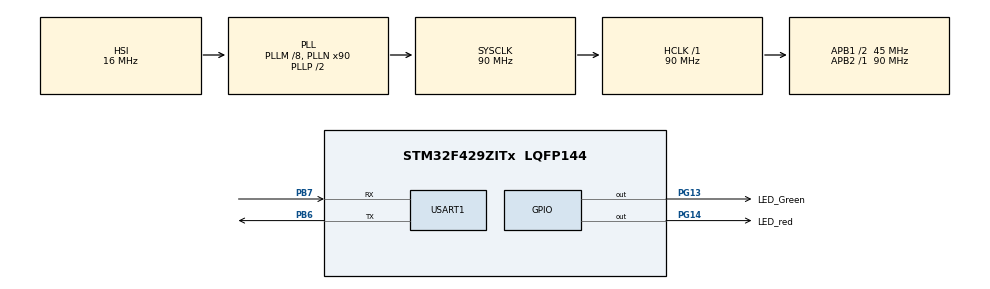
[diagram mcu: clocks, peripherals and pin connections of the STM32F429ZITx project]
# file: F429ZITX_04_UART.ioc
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Mcu.Family=STM32F4
Mcu.Name=STM32F429ZITx
Mcu.Package=LQFP144
NVIC.PriorityGroup=NVIC_PRIORITYGROUP_4
NVIC.TIM1_TRG_COM_TIM11_IRQn=true\:0\:0\:false\:false\:true\:true
NVIC.TIM1_UP_TIM10_IRQn=true\:0\:0\:false\:false\:true\:true
NVIC.USART1_IRQn=true\:0\:0\:false\:false\:true\:true
PB6.Mode=Asynchronous
PB6.Signal=USART1_TX
PB7.Mode=Asynchronous
PB7.Signal=USART1_RX
PG13.GPIO_Label=LED_Green
PG13.Signal=GPIO_Output
PG14.GPIO_Label=LED_red
PG14.Signal=GPIO_Output
PH0/OSC_IN.Mode=HSE-External-Oscillator
PH0/OSC_IN.Signal=RCC_OSC_IN
PH1/OSC_OUT.Mode=HSE-External-Oscillator
PH1/OSC_OUT.Signal=RCC_OSC_OUT
ProjectManager.HeapSize=0x200
ProjectManager.StackSize=0x400
ProjectManager.TargetToolchain=TrueSTUDIO
RCC.48MHZClocksFreq_Value=45000000
RCC.AHBFreq_Value=90000000
RCC.APB1CLKDivider=RCC_HCLK_DIV2
RCC.APB1Freq_Value=45000000
RCC.APB1TimFreq_Value=90000000
RCC.APB2Freq_Value=90000000
RCC.APB2TimFreq_Value=90000000
RCC.CortexFreq_Value=90000000
RCC.HCLKFreq_Value=90000000
RCC.HSE_VALUE=8000000
RCC.HSI_VALUE=16000000
RCC.LSE_VALUE=32768
RCC.PLLM=8
RCC.PLLN=90
RCC.SYSCLKFreq_VALUE=90000000
RCC.SYSCLKSource=RCC_SYSCLKSOURCE_PLLCLK
RCC.VCOOutputFreq_Value=180000000
TIM10.Period=8999
TIM10.Prescaler=9999
TIM11.Period=2249
TIM11.Prescaler=9999
USART1.VirtualMode=VM_ASYNC
VP_TIM10_VS_ClockSourceINT.Mode=Enable_Timer
VP_TIM11_VS_ClockSourceINT.Mode=Enable_Timer
board=F429ZITX_04_UART

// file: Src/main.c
/**
  ******************************************************************************
  * @file           : main.c
  * @brief          : Main program body
  ******************************************************************************
  ** This notice applies to any and all portions of this file
  * that are not between comment pairs USER CODE BEGIN and
  * USER CODE END. Other portions of this file, whether
  * inserted by the user or by software development tools
  * are owned by their respective copyright owners.
  *
  * COPYRIGHT(c) 2018 STMicroelectronics
  *
  * Redistribution and use in source and binary forms, with or without modification,
  * are permitted provided that the following conditions are met:
  *   1. Redistributions of source code must retain the above copyright notice,
  *      this list of conditions and the following disclaimer.
  *   2. Redistributions in binary form must reproduce the above copyright notice,
  *      this list of conditions and the following disclaimer in the documentation
  *      and/or other materials provided with the distribution.
  *   3. Neither the name of STMicroelectronics nor the names of its contributors
  *      may be used to endorse or promote products derived from this software
  *      without specific prior written permission.
  *
  * THIS SOFTWARE IS PROVIDED BY THE COPYRIGHT HOLDERS AND CONTRIBUTORS "AS IS"
  * AND ANY EXPRESS OR IMPLIED WARRANTIES, INCLUDING, BUT NOT LIMITED TO, THE
  * IMPLIED WARRANTIES OF MERCHANTABILITY AND FITNESS FOR A PARTICULAR PURPOSE ARE
  * DISCLAIMED. IN NO EVENT SHALL THE COPYRIGHT HOLDER OR CONTRIBUTORS BE LIABLE
  * FOR ANY DIRECT, INDIRECT, INCIDENTAL, SPECIAL, EXEMPLARY, OR CONSEQUENTIAL
  * DAMAGES (INCLUDING, BUT NOT LIMITED TO, PROCUREMENT OF SUBSTITUTE GOODS OR
  * SERVICES; LOSS OF USE, DATA, OR PROFITS; OR BUSINESS INTERRUPTION) HOWEVER
  * CAUSED AND ON ANY THEORY OF LIABILITY, WHETHER IN CONTRACT, STRICT LIABILITY,
  * OR TORT (INCLUDING NEGLIGENCE OR OTHERWISE) ARISING IN ANY WAY OUT OF THE USE
  * OF THIS SOFTWARE, EVEN IF ADVISED OF THE POSSIBILITY OF SUCH DAMAGE.
  *
  ******************************************************************************
  */
#include "main.h"
#include "stm32f4xx_hal.h"

TIM_HandleTypeDef htim10;
TIM_HandleTypeDef htim11;

UART_HandleTypeDef huart1;

/* USER CODE BEGIN PV */
/* Private variables ---------------------------------------------------------*/
uint8_t Received;

/* USER CODE END PV */

void SystemClock_Config(void);
static void MX_GPIO_Init(void);
static void MX_TIM10_Init(void);
static void MX_TIM11_Init(void);
static void MX_USART1_UART_Init(void);

/* USER CODE BEGIN PFP */
/* Private function prototypes -----------------------------------------------*/

/*
void HAL_TIM_PeriodElapsedCallback(TIM_HandleTypeDef *htim){

	static uint16_t cnt = 0; // licznik wys³anych wiadmosci
	uint8_t data[50]; // tablica przechowuj¹ca wysy³ane wiadomoœci
	uint16_t size = 0; // Rozmiar wysylanej wiadomosci ++cnt;
	//zwiekszenie licznika wysylanych wadomosci

	++cnt; // Zwikeszenie  licznika wyslanych wiadomosci;
	size = sprintf(data, "Liczba wyslanych wiadomosci: %d.\n\r", cnt);
	// Stworzenie wiadomosci do wyslania oraz przypisanie ilosci wysylanych znakow
	// znakow do zmiennje size

	HAL_UART_Transmit_IT(&huart1,data,size);
	//rozpoczecie nadawania danych z wykorzystywaniem przerwan

	HAL_GPIO_TogglePin(LED_Green_GPIO_Port,LED_Green_Pin);
	//zmiana stanu pinu na diodzie LED

}

*/

void HAL_UART_RxCpltCallback(UART_HandleTypeDef *huart) {

 uint8_t Data[50]; // Tablica przechowujaca wysylana wiadomosc.
 uint16_t size = 0; // Rozmiar wysylanej wiadomosci

 // Odebrany znak zostaje przekonwertowany na liczbe calkowita i sprawdzony
 // instrukcja warunkowa
 switch (atoi(&Received)) {

		 case 0: // Jezeli odebrany zostanie znak 0
		 size = sprintf(Data, "STOP\n\r");
		 HAL_GPIO_WritePin(LED_Green_GPIO_Port, LED_Green_Pin, GPIO_PIN_RESET);
		 break;

		 case 1: // Jezeli odebrany zostanie znak 1
		 size = sprintf(Data, "START\n\r");
		 HAL_GPIO_WritePin(LED_Green_GPIO_Port, LED_Green_Pin, GPIO_PIN_SET);
		 break;

		 default: // Jezeli odebrano nieobslugiwany znak
		 size = sprintf(Data, "Odebrano nieznany znak: %c\n\r", Received);
		 break;
 }

 HAL_UART_Transmit_IT(&huart1, Data, size); // Rozpoczecie nadawania danych z wykorzystaniem przerwan
 HAL_UART_Receive_IT(&huart1, &Received, 1); // Ponowne w³¹czenie nas³uchiwania
}

/* USER CODE END PFP */

int main(void)
{

  /* MCU Configuration----------------------------------------------------------*/

  /* Reset of all peripherals, Initializes the Flash interface and the Systick. */
  HAL_Init();

  /* Configure the system clock */
  SystemClock_Config();

  /* Initialize all configured peripherals */
  MX_GPIO_Init();
  MX_TIM10_Init();
  MX_TIM11_Init();
  MX_USART1_UART_Init();
  /* USER CODE BEGIN 2 */
  HAL_TIM_Base_Start_IT(&htim10);
  HAL_UART_Receive_IT(&huart1, &Received,1);
  /* USER CODE END 2 */

  /* Infinite loop */
  while (1)
  {

  }

}

void SystemClock_Config(void)
{

  RCC_OscInitTypeDef RCC_OscInitStruct;
  RCC_ClkInitTypeDef RCC_ClkInitStruct;

    /**Configure the main internal regulator output voltage
    */
  __HAL_RCC_PWR_CLK_ENABLE();

  __HAL_PWR_VOLTAGESCALING_CONFIG(PWR_REGULATOR_VOLTAGE_SCALE3);

    /**Initializes the CPU, AHB and APB busses clocks
    */
  RCC_OscInitStruct.OscillatorType = RCC_OSCILLATORTYPE_HSI;
  RCC_OscInitStruct.HSIState = RCC_HSI_ON;
  RCC_OscInitStruct.HSICalibrationValue = 16;
  RCC_OscInitStruct.PLL.PLLState = RCC_PLL_ON;
  RCC_OscInitStruct.PLL.PLLSource = RCC_PLLSOURCE_HSI;
  RCC_OscInitStruct.PLL.PLLM = 8;
  RCC_OscInitStruct.PLL.PLLN = 90;
  RCC_OscInitStruct.PLL.PLLP = RCC_PLLP_DIV2;
  RCC_OscInitStruct.PLL.PLLQ = 4;
  if (HAL_RCC_OscConfig(&RCC_OscInitStruct) != HAL_OK)
  {
    _Error_Handler(__FILE__, __LINE__);
  }

    /**Activate the Over-Drive mode
    */
  if (HAL_PWREx_EnableOverDrive() != HAL_OK)
  {
    _Error_Handler(__FILE__, __LINE__);
  }

    /**Initializes the CPU, AHB and APB busses clocks
    */
  RCC_ClkInitStruct.ClockType = RCC_CLOCKTYPE_HCLK|RCC_CLOCKTYPE_SYSCLK
                              |RCC_CLOCKTYPE_PCLK1|RCC_CLOCKTYPE_PCLK2;
  RCC_ClkInitStruct.SYSCLKSource = RCC_SYSCLKSOURCE_PLLCLK;
  RCC_ClkInitStruct.AHBCLKDivider = RCC_SYSCLK_DIV1;
  RCC_ClkInitStruct.APB1CLKDivider = RCC_HCLK_DIV2;
  RCC_ClkInitStruct.APB2CLKDivider = RCC_HCLK_DIV1;

  if (HAL_RCC_ClockConfig(&RCC_ClkInitStruct, FLASH_LATENCY_2) != HAL_OK)
  {
    _Error_Handler(__FILE__, __LINE__);
  }

    /**Configure the Systick interrupt time
    */
  HAL_SYSTICK_Config(HAL_RCC_GetHCLKFreq()/1000);

    /**Configure the Systick
    */
  HAL_SYSTICK_CLKSourceConfig(SYSTICK_CLKSOURCE_HCLK);

  /* SysTick_IRQn interrupt configuration */
  HAL_NVIC_SetPriority(SysTick_IRQn, 0, 0);
}

/* TIM10 init function */
static void MX_TIM10_Init(void)
{

  htim10.Instance = TIM10;
  htim10.Init.Prescaler = 9999;
  htim10.Init.CounterMode = TIM_COUNTERMODE_UP;
  htim10.Init.Period = 8999;
  htim10.Init.ClockDivision = TIM_CLOCKDIVISION_DIV1;
  if (HAL_TIM_Base_Init(&htim10) != HAL_OK)
  {
    _Error_Handler(__FILE__, __LINE__);
  }

}

/* TIM11 init function */
static void MX_TIM11_Init(void)
{

  htim11.Instance = TIM11;
  htim11.Init.Prescaler = 9999;
  htim11.Init.CounterMode = TIM_COUNTERMODE_UP;
  htim11.Init.Period = 2249;
  htim11.Init.ClockDivision = TIM_CLOCKDIVISION_DIV1;
  if (HAL_TIM_Base_Init(&htim11) != HAL_OK)
  {
    _Error_Handler(__FILE__, __LINE__);
  }

}

/* USART1 init function */
static void MX_USART1_UART_Init(void)
{

  huart1.Instance = USART1;
  huart1.Init.BaudRate = 115200;
  huart1.Init.WordLength = UART_WORDLENGTH_8B;
  huart1.Init.StopBits = UART_STOPBITS_1;
  huart1.Init.Parity = UART_PARITY_NONE;
  huart1.Init.Mode = UART_MODE_TX_RX;
  huart1.Init.HwFlowCtl = UART_HWCONTROL_NONE;
  huart1.Init.OverSampling = UART_OVERSAMPLING_16;
  if (HAL_UART_Init(&huart1) != HAL_OK)
  {
    _Error_Handler(__FILE__, __LINE__);
  }

}

/** Configure pins as
        * Analog
        * Input
        * Output
        * EVENT_OUT
        * EXTI
*/
static void MX_GPIO_Init(void)
{

  GPIO_InitTypeDef GPIO_InitStruct;

  /* GPIO Ports Clock Enable */
  __HAL_RCC_GPIOH_CLK_ENABLE();
  __HAL_RCC_GPIOG_CLK_ENABLE();
  __HAL_RCC_GPIOB_CLK_ENABLE();

  /*Configure GPIO pin Output Level */
  HAL_GPIO_WritePin(GPIOG, LED_Green_Pin|LED_red_Pin, GPIO_PIN_RESET);

  /*Configure GPIO pins : LED_Green_Pin LED_red_Pin */
  GPIO_InitStruct.Pin = LED_Green_Pin|LED_red_Pin;
  GPIO_InitStruct.Mode = GPIO_MODE_OUTPUT_PP;
  GPIO_InitStruct.Pull = GPIO_NOPULL;
  GPIO_InitStruct.Speed = GPIO_SPEED_FREQ_LOW;
  HAL_GPIO_Init(GPIOG, &GPIO_InitStruct);

}

void _Error_Handler(char *file, int line)
{
  while(1)
  {
  }
}

/************************ (C) COPYRIGHT STMicroelectronics *****END OF FILE****/
